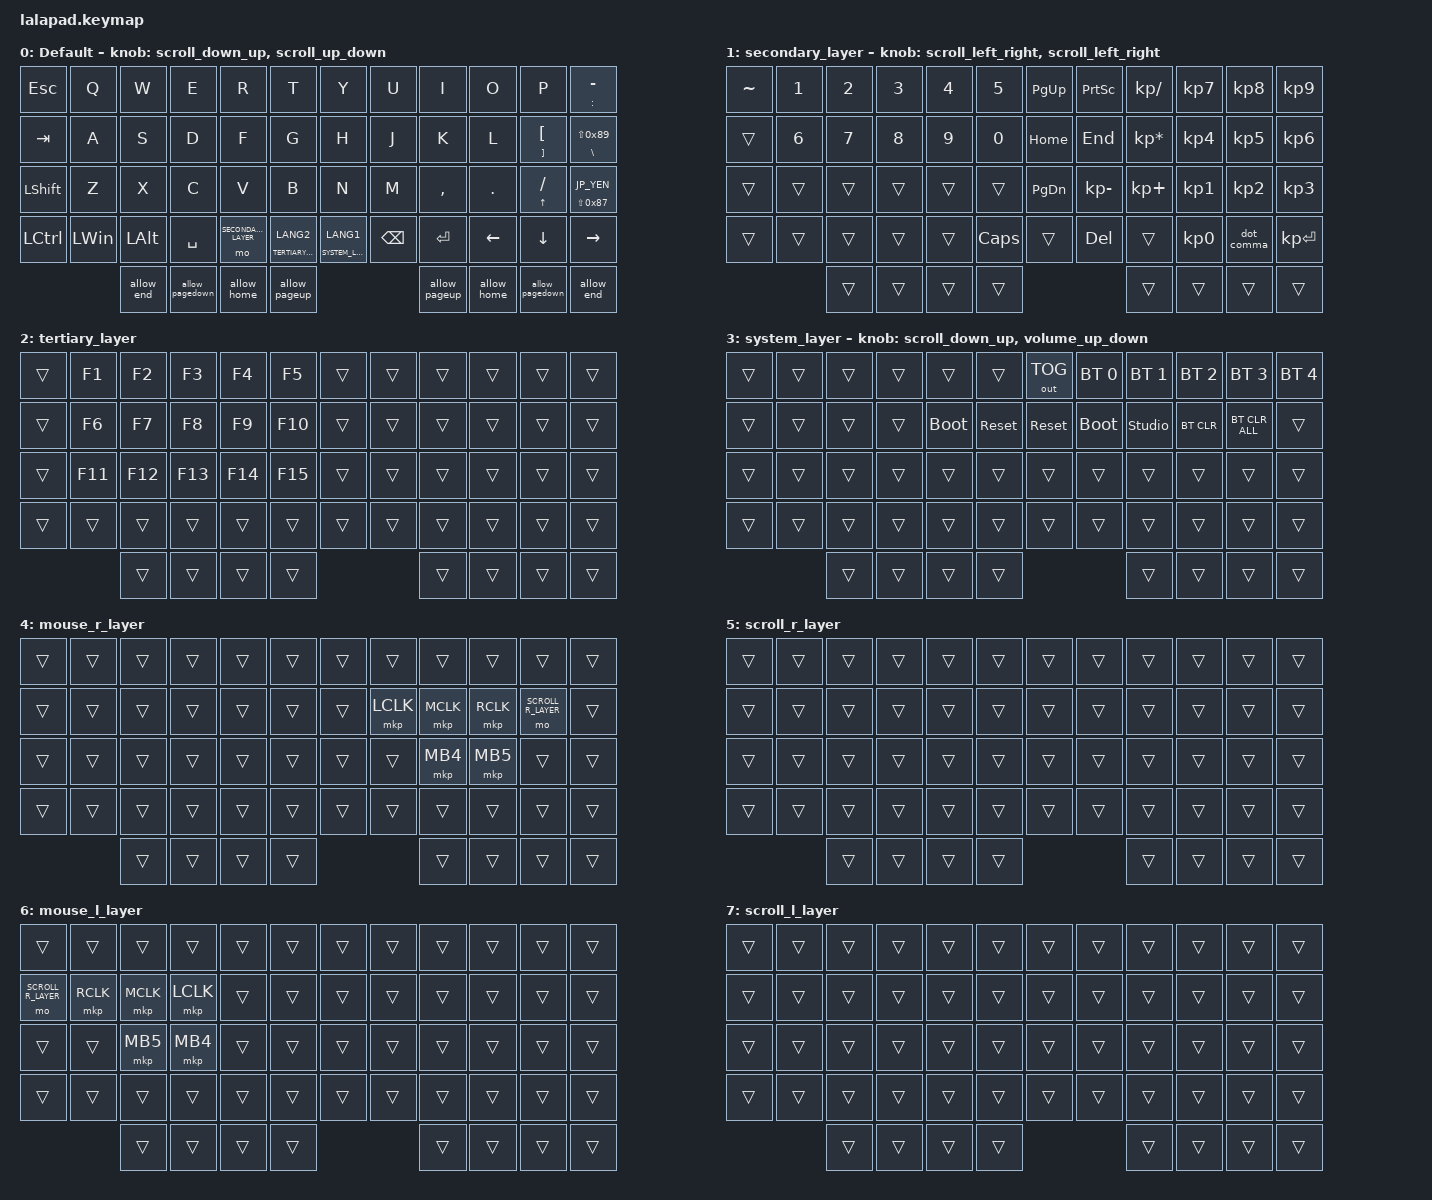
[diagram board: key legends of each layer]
#include <input/processors.dtsi>
#include <behaviors.dtsi>
#include <dt-bindings/zmk/bt.h>
#include <dt-bindings/zmk/keys.h>
#include <dt-bindings/zmk/outputs.h>
#include <dt-bindings/zmk/pointing.h>

#define DEFAULT_LAYER   0
#define SECONDARY_LAYER 1
#define TERTIARY_LAYER  2
#define SYSTEM_LAYER    3
#define MOUSE_R_LAYER   4
#define SCROLL_R_LAYER  5
#define MOUSE_L_LAYER   6
#define SCROLL_L_LAYER  7

// 日本語(JIS)用マクロ定義（安全版）
#define JP_DQUOTE       AT                // "
#define JP_AMPERSAND    CARET              // &
#define JP_QUOTE        AMPERSAND          // '
#define JP_EQUAL        UNDER              // =
#define JP_CARET        EQUAL               // ^
#define JP_YEN          0x89                // ¥
#define JP_PLUS         COLON               // +
#define JP_TILDE        PLUS                // ~
#define JP_PIPE         LS(0x89)            // |
#define JP_AT           LEFT_BRACKET        // @
#define JP_COLON        SINGLE_QUOTE         // :
#define JP_ASTERISK     DOUBLE_QUOTES        // *
#define JP_BACKQUOTE    LEFT_BRACE           // `
#define JP_UNDERSCORE   LS(0x87)             // _
#define JP_LBRACKET     RIGHT_B
#define JP_LBRACKET     RIGHT_BRACKET        // [
#define JP_RBRACKET     BACKSLASH             // ]
#define JP_LPAREN       LS(NUMBER_9)          // (
#define JP_RPAREN       LS(NUMBER_0)          // )
#define JP_LBRACE       LS(RIGHT_BRACKET)     // {
#define JP_RBRACE       LS(BACKSLASH)         // }
#define JP_MINUS        MINUS                     // JIS の「−」キー（US 配列では MINUS）
#define JP_KANA         LANGUAGE_1            // かな
#define JP_EISU         LANGUAGE_2            // 英数
#define JP_HANZEN       GRAVE                  // 半角/全角


// Mouse Scroll Value
#define ZMK_POINTING_DEFAULT_SCRL_VAL 100

// cirque trackpad input&layer control
&glidepoint_listener_R {
    input-processors =
        <&zip_xy_transform (INPUT_TRANSFORM_XY_SWAP | INPUT_TRANSFORM_X_INVERT | INPUT_TRANSFORM_Y_INVERT)>,
        <&zip_xy_scaler 3 2>,
        <&zip_temp_layer MOUSE_R_LAYER 500>;

    lowspeedmode {
        layers = <SECONDARY_LAYER>;
        input-processors =
            <&zip_xy_transform (INPUT_TRANSFORM_XY_SWAP | INPUT_TRANSFORM_X_INVERT | INPUT_TRANSFORM_Y_INVERT)>,
            <&zip_xy_scaler 3 5>,
            <&zip_temp_layer MOUSE_R_LAYER 500>;
    };

    scroller {
        layers = <SCROLL_R_LAYER>;
        input-processors =
            <&zip_xy_to_scroll_mapper>,
            <&zip_scroll_transform (INPUT_TRANSFORM_XY_SWAP | INPUT_TRANSFORM_Y_INVERT)>,
            <&zip_scroll_scaler 1 8>;
    };
};

&glidepoint_listener_L {
   input-processors = 
            <&zip_xy_to_scroll_mapper>,
            <&zip_scroll_transform (INPUT_TRANSFORM_XY_SWAP | INPUT_TRANSFORM_Y_INVERT)>,
            <&zip_scroll_scaler 1 8>;
};
/ {

    behaviors {
        // Encoder to Mouse Scroll
        scroll_up_down: behavior_sensor_rotate_mouse_wheel_up_down {
            compatible = "zmk,behavior-sensor-rotate";
            #sensor-binding-cells = <0>;
            bindings = <&msc SCRL_UP>, <&msc SCRL_DOWN>;
            tap-ms = <20>;
        };
        scroll_down_up: behavior_sensor_rotate_mouse_wheel_down_up {
            compatible = "zmk,behavior-sensor-rotate";
            #sensor-binding-cells = <0>;
            bindings = <&msc SCRL_DOWN>,<&msc SCRL_UP>;
            tap-ms = <20>;
        };
        scroll_left_right: behavior_sensor_rotate_mouse_wheel_left_right {
            compatible = "zmk,behavior-sensor-rotate";
            #sensor-binding-cells = <0>;
            bindings = <&msc SCRL_LEFT>, <&msc SCRL_RIGHT>;
            tap-ms = <20>;
        };
        scroll_right_left: behavior_sensor_rotate_mouse_wheel_right_left {
            compatible = "zmk,behavior-sensor-rotate";
            #sensor-binding-cells = <0>;
            bindings = <&msc SCRL_RIGHT>, <&msc SCRL_LEFT>;
            tap-ms = <20>;
        };
        volume_up_down: behavior_sensor_rotate_volume_up_down {
            compatible = "zmk,behavior-sensor-rotate";
            #sensor-binding-cells = <0>;
            bindings = <&kp C_VOLUME_UP>, <&kp C_VOLUME_DOWN>;
            tap-ms = <20>;
        };
        dot_comma: dot_comma {
            compatible = "zmk,behavior-mod-morph";
            #binding-cells = <0>;
            bindings = <&kp KP_DOT>, <&kp COMMA>;

            mods = <(MOD_LSFT|MOD_RSFT)>;
            label = "DOT_COMMA";
        };
        pls_minus: pls_minus {
            compatible = "zmk,behavior-mod-morph";
            #binding-cells = <0>;
            bindings = <&kp PLUS>, <&kp MINUS>;

            mods = <(MOD_LSFT|MOD_RSFT)>;
            label = "PLS_MINUS";
        };
        allow_pageup: allow_pageup {
            compatible = "zmk,behavior-mod-morph";
            #binding-cells = <0>;
            bindings = <&kp UP>, <&kp PAGE_UP>;

            mods = <(MOD_LCTL|MOD_RCTL)>;
            label = "ALLOW_PAGEUP";
        };
        allow_pagedown: allow_pagedown {
            compatible = "zmk,behavior-mod-morph";
            #binding-cells = <0>;
            bindings = <&kp DOWN>, <&kp PAGE_DOWN>;

            mods = <(MOD_LCTL|MOD_RCTL)>;
            label = "ALLOW_PAGEDOWN";
        };
        allow_home: allow_home {
            compatible = "zmk,behavior-mod-morph";
            #binding-cells = <0>;
            bindings = <&kp LEFT>, <&kp HOME>;

            mods = <(MOD_LCTL|MOD_RCTL)>;
            label = "ALLOW_HOME";
        };
        allow_end: allow_end {
            compatible = "zmk,behavior-mod-morph";
            #binding-cells = <0>;
            bindings = <&kp RIGHT>, <&kp END>;

            mods = <(MOD_LCTL|MOD_RCTL)>;
            label = "ALLOW_END";
        };
        mt2: mod_tap2 {
            compatible = "zmk,behavior-hold-tap";
            #binding-cells = <2>;
            flavor = "tap-preferred";
            tapping-term-ms = <200>;
            quick-tap-ms = <200>;
            require-prior-idle-ms = <125>;
            bindings = <&kp>, <&kp>;
        };
    };

    keymap {
        compatible = "zmk,keymap";

        DEFAULT_LAYER {
            display-name = "Default";
            sensor-bindings = <&scroll_down_up>,<&scroll_up_down>;
            bindings = <
&kp ESC    &kp Q         &kp W         &kp E      &kp R        &kp T  &kp Y      &kp U    &kp I      &kp O       &kp P      &mt2 JP_PLUS JP_MINUS
&kp TAB    &kp A         &kp S         &kp D      &kp F        &kp G  &kp H      &kp J    &kp K      &kp L       &mt2 JP_LBRACKET JP_AT     &mt2 JP_RBRACKET JP_PIPE
&kp LSHFT  &kp Z         &kp X         &kp C      &kp V        &kp B  &kp N      &kp M    &kp COMMA  &kp PERIOD  &mt2 UP SLASH   &mt2 JP_UNDERSCORE JP_YEN 
&kp LCTRL  &kp LEFT_WIN  &kp LEFT_ALT  &kp SPACE  &mo SECONDARY_LAYER &lt TERTIARY_LAYER LANG2 &lt SYSTEM_LAYER LANG1 &kp BACKSPACE &kp RET &kp LEFT &kp DOWN &kp RIGHT
                         &allow_end &allow_pagedown &allow_home &allow_pageup    &allow_pageup &allow_home &allow_pagedown &allow_end
            >;
        };

        SECONDARY_LAYER {
            display-name = "secondary_layer";
            sensor-bindings = <&scroll_left_right>,<&scroll_left_right>;
            bindings = <
&kp TILDE  &kp NUMBER_1    &kp NUMBER_2  &kp NUMBER_3  &kp NUMBER_4   &kp NUMBER_5   &kp PAGE_UP     &kp PRINTSCREEN  &kp KP_SLASH     &kp KP_NUMBER_7  &kp KP_NUMBER_8  &kp KP_NUMBER_9
&trans     &kp NUMBER_6    &kp NUMBER_7  &kp NUMBER_8  &kp NUMBER_9   &kp NUMBER_0   &kp HOME        &kp END          &kp KP_ASTERISK  &kp KP_NUMBER_4  &kp KP_NUMBER_5  &kp KP_NUMBER_6
&trans     &trans              &trans            &trans            &trans            &trans         &kp PAGE_DOWN   &kp KP_MINUS     &kp KP_PLUS      &kp KP_NUMBER_1  &kp KP_NUMBER_2  &kp KP_NUMBER_3
&trans     &trans              &trans            &trans            &trans            &kp CAPS           &trans &kp DELETE  &trans        &kp KP_NUMBER_0  &dot_comma       &kp KP_ENTER
&trans     &trans              &trans            &trans                                                                     &trans        &trans           &trans           &trans
            >;
        };

        TERTIARY_LAYER {
            display-name = "tertiary_layer";
            bindings = <
&trans  &kp F1  &kp F2  &kp F3  &kp F4  &kp F5  &trans  &trans  &trans  &trans  &trans  &trans
&trans  &kp F6  &kp F7  &kp F8  &kp F9  &kp F10 &trans  &trans  &trans  &trans  &trans  &trans
&trans  &kp F11  &kp F12 &kp F13  &kp F14 &kp F15 &trans  &trans  &trans  &trans  &trans  &trans
&trans  &trans  &trans  &trans  &trans  &trans  &trans  &trans  &trans  &trans  &trans  &trans
&trans  &trans  &trans  &trans                                  &trans  &trans  &trans  &trans
            >;
        };

        SYSTEM_LAYER {
            display-name = "system_layer";
            sensor-bindings = <&scroll_down_up>,<&volume_up_down>;
            bindings = <
&trans  &trans  &trans  &trans  &trans  &trans &out OUT_TOG &bt BT_SEL 0 &bt BT_SEL 1 &bt BT_SEL 2 &bt BT_SEL 3 &bt BT_SEL 4
&trans  &trans  &trans  &trans  &bootloader  &sys_reset &sys_reset &bootloader &studio_unlock &bt BT_CLR &bt BT_CLR_ALL &trans
&trans  &trans  &trans  &trans  &trans  &trans &trans &trans  &trans  &trans  &trans  &trans
&trans  &trans  &trans  &trans  &trans  &trans &trans  &trans  &trans  &trans  &trans  &trans
&trans  &trans  &trans  &trans                                  &trans  &trans  &trans  &trans
            >;
        };

        MOUSE_R_LAYER {
            display-name = "mouse_r_layer";
            bindings = <
&trans  &trans  &trans  &trans  &trans  &trans  &trans   &trans   &trans     &trans     &trans     &trans
&trans  &trans  &trans  &trans  &trans  &trans  &trans   &mkp LCLK  &mkp MCLK  &mkp RCLK  &mo SCROLL_R_LAYER &trans
&trans  &trans  &trans  &trans  &trans  &trans  &trans   &trans   &mkp MB4   &mkp MB5   &trans     &trans
&trans  &trans  &trans  &trans  &trans  &trans  &trans   &trans   &trans     &trans     &trans     &trans
&trans  &trans  &trans  &trans                                    &trans     &trans     &trans     &trans
            >;
        };

        SCROLL_R_LAYER {
            display-name = "scroll_r_layer";
            bindings = <
&trans  &trans  &trans  &trans  &trans  &trans  &trans  &trans  &trans  &trans  &trans  &trans
&trans  &trans  &trans  &trans  &trans  &trans  &trans  &trans  &trans  &trans  &trans  &trans
&trans  &trans  &trans  &trans  &trans  &trans  &trans  &trans  &trans  &trans  &trans  &trans
&trans  &trans  &trans  &trans  &trans  &trans  &trans  &trans  &trans  &trans  &trans  &trans
&trans  &trans  &trans  &trans                                  &trans  &trans  &trans  &trans
            >;
        };

        MOUSE_L_LAYER {
            display-name = "mouse_l_layer";
            bindings = <
&trans  &trans  &trans  &trans  &trans  &trans                       &trans  &trans  &trans  &trans  &trans  &trans
&mo SCROLL_R_LAYER  &mkp RCLK  &mkp MCLK  &mkp LCLK  &trans  &trans  &trans  &trans  &trans  &trans  &trans  &trans
&trans  &trans  &mkp MB5  &mkp MB4  &trans  &trans                   &trans  &trans  &trans  &trans  &trans  &trans
&trans  &trans  &trans  &trans  &trans  &trans                       &trans  &trans  &trans  &trans  &trans  &trans
&trans  &trans  &trans  &trans                                                       &trans  &trans  &trans  &trans
            >;
        };

        SCROLL_L_LAYER {
            display-name = "scroll_l_layer";
            bindings = <
&trans  &trans  &trans  &trans  &trans  &trans  &trans  &trans  &trans  &trans  &trans  &trans
&trans  &trans  &trans  &trans  &trans  &trans  &trans  &trans  &trans  &trans  &trans  &trans
&trans  &trans  &trans  &trans  &trans  &trans  &trans  &trans  &trans  &trans  &trans  &trans
&trans  &trans  &trans  &trans  &trans  &trans  &trans  &trans  &trans  &trans  &trans  &trans
&trans  &trans  &trans  &trans                                  &trans  &trans  &trans  &trans
            >;
        };
    };
    
};
